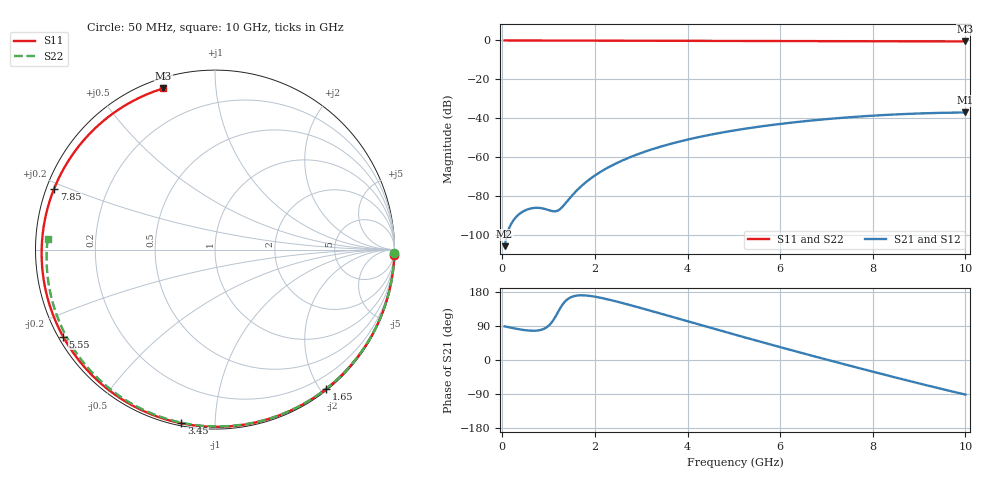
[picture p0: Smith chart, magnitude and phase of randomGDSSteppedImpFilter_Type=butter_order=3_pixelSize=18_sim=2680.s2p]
! freq	dB(S11)	phase(S11)	dB(S12)	phase(S12)
!  dB(S21)	phase(S21)	dB(S22)	phase(S22)
!S-par simulation data
#  GHz  S  DB  R 50
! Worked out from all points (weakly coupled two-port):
!   200 points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, 50 MHz to 10 GHz, reference 50 ohm
!   highest |S21| = -37.02 dB at 10 GHz (marker M1); lowest = -105.7 dB at 50 MHz (marker M2)
!   lowest |S11| = -0.5 dB at 10 GHz (marker M3), VSWR 34.21, Z = 2.24 + j36.4 ohm
!   |S11| at or under -10 dB: nowhere
!   |S22| runs from -0.6 to 0.0 dB; largest |S21 - S12| = 0
!   S11 on the Smith chart (normalised r, x): 50 MHz: 0, -71; 1.65 GHz: 0.02, -2.08; 3.45 GHz: 0.01, -0.83; 5.55 GHz: 0.01, -0.27; 7.85 GHz: 0.02, +0.18; 10 GHz: 0.04, +0.73
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0.05  -0.00 -1.6  -105.73 88.8  -105.73 88.8  -0.00 -1.1
0.7  -0.03 -22.3  -86.04 77.2  -86.04 77.2  -0.02 -14.8
1.05  -0.04 -33.2  -87.54 96.6  -87.54 96.6  -0.03 -22.2
1.45  -0.06 -45.4  -81.26 163.7  -81.26 163.7  -0.04 -30.5
1.5  -0.06 -46.9  -79.88 166.6  -79.88 166.6  -0.04 -31.5
1.65  -0.06 -51.4  -76.12 170.5  -76.12 170.5  -0.04 -34.6
1.75  -0.07 -54.4  -73.95 170.7  -73.95 170.7  -0.05 -36.6
2.05  -0.08 -63.1  -68.61 166.0  -68.61 166.0  -0.05 -42.7
2.45  -0.09 -74.4  -63.27 154.9  -63.27 154.9  -0.06 -50.7
2.9  -0.10 -86.6  -58.69 140.3  -58.69 140.3  -0.08 -59.5
3.4  -0.12 -99.6  -54.72 123.1  -54.72 123.1  -0.09 -69.1
3.45  -0.12 -100.9  -54.37 121.4  -54.37 121.4  -0.09 -70.0
4.2  -0.15 -119.3  -49.88 95.3  -49.88 95.3  -0.12 -84.0
5.05  -0.19 -139.0  -46.08 66.0  -46.08 66.0  -0.15 -99.2
5.55  -0.22 -150.2  -44.29 49.0  -44.29 49.0  -0.18 -107.9
6.15  -0.25 -163.4  -42.48 29.0  -42.48 29.0  -0.21 -118.1
6.7  -0.29 -175.4  -41.09 10.9  -41.09 10.9  -0.25 -127.3
7.3  -0.33 171.4  -39.83 -8.5  -39.83 -8.5  -0.29 -137.4
7.85  -0.37 159.2  -38.88 -26.1  -38.88 -26.1  -0.34 -146.5
8.35  -0.40 147.9  -38.19 -41.8  -38.19 -41.8  -0.39 -154.9
9.25  -0.46 126.5  -37.34 -69.3  -37.34 -69.3  -0.49 -170.3
10  -0.51 107.8  -37.02 -91.3  -37.02 -91.3  -0.59 176.4
